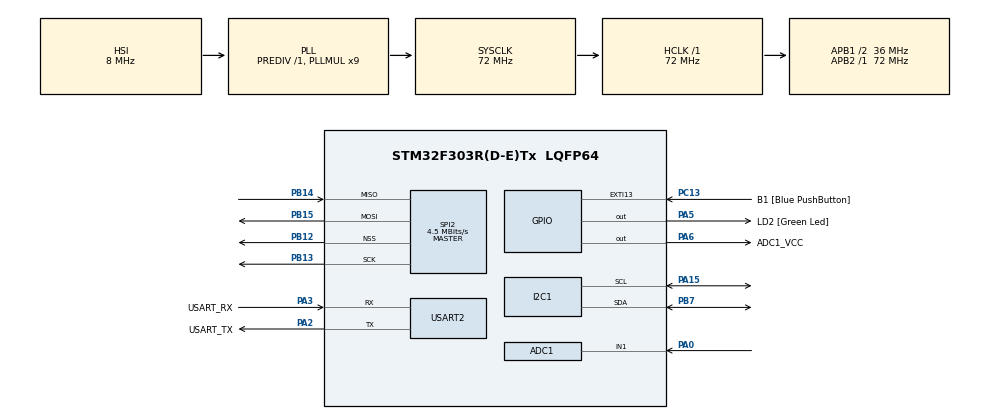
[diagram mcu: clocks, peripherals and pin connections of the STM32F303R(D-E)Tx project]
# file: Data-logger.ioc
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ADC1.Channel-3\#ChannelRegularConversion=ADC_CHANNEL_1
ADC1.ContinuousConvMode=ENABLE
ADC1.EnableInjectedConversion=DISABLE
ADC1.NbrOfConversionFlag=1
ADC1.Offset-3\#ChannelRegularConversion=0
ADC1.OffsetNumber-3\#ChannelRegularConversion=ADC_OFFSET_NONE
ADC1.Rank-3\#ChannelRegularConversion=1
ADC1.Rank1_Channel=ADC_CHANNEL_1
ADC1.SamplingTime-3\#ChannelRegularConversion=ADC_SAMPLETIME_4CYCLES_5
ADC1.SamplingTimeOPAMP-3\#ChannelRegularConversion=ADC_SAMPLETIME_61CYCLES_5
ADC1.master=1
Mcu.Family=STM32F3
Mcu.Name=STM32F303R(D-E)Tx
Mcu.Package=LQFP64
NVIC.PriorityGroup=NVIC_PRIORITYGROUP_0
PA0.Mode=IN1-Single-Ended
PA0.Signal=ADC1_IN1
PA13.GPIO_Label=TMS
PA13.Mode=Serial_Wire
PA13.Signal=SYS_JTMS-SWDIO
PA14.GPIO_Label=TCK
PA14.Mode=Serial_Wire
PA14.Signal=SYS_JTCK-SWCLK
PA15.Mode=I2C
PA15.Signal=I2C1_SCL
PA2.GPIO_Label=USART_TX
PA2.GPIO_Mode=GPIO_MODE_AF_PP
PA2.GPIO_PuPd=GPIO_NOPULL
PA2.GPIO_Speed=GPIO_SPEED_FREQ_LOW
PA2.Mode=Asynchronous
PA2.Signal=USART2_TX
PA3.GPIO_Label=USART_RX
PA3.GPIO_Mode=GPIO_MODE_AF_PP
PA3.GPIO_PuPd=GPIO_NOPULL
PA3.GPIO_Speed=GPIO_SPEED_FREQ_LOW
PA3.Mode=Asynchronous
PA3.Signal=USART2_RX
PA5.GPIO_Label=LD2 [Green Led]
PA5.GPIO_Mode=GPIO_MODE_OUTPUT_PP
PA5.GPIO_PuPd=GPIO_NOPULL
PA5.GPIO_Speed=GPIO_SPEED_FREQ_LOW
PA5.Signal=GPIO_Output
PA6.GPIO_Label=ADC1_VCC
PA6.PinState=GPIO_PIN_SET
PA6.Signal=GPIO_Output
PB12.Mode=NSS_Signal_Hard_Output
PB12.Signal=SPI2_NSS
PB13.Mode=Full_Duplex_Master
PB13.Signal=SPI2_SCK
PB14.Mode=Full_Duplex_Master
PB14.Signal=SPI2_MISO
PB15.Mode=Full_Duplex_Master
PB15.Signal=SPI2_MOSI
PB3.GPIO_Label=SWO
PB3.Signal=SYS_JTDO-TRACESWO
PB7.Mode=I2C
PB7.Signal=I2C1_SDA
PC13.GPIO_Label=B1 [Blue PushButton]
PC13.GPIO_ModeDefaultEXTI=GPIO_MODE_IT_FALLING
PC13.Signal=GPXTI13
PC14-OSC32_IN.Mode=LSE-External-Oscillator
PC14-OSC32_IN.Signal=RCC_OSC32_IN
PC15-OSC32_OUT.Mode=LSE-External-Oscillator
PC15-OSC32_OUT.Signal=RCC_OSC32_OUT
PF0-OSC_IN.Mode=HSE-External-Oscillator
PF0-OSC_IN.Signal=RCC_OSC_IN
PF1-OSC_OUT.Mode=HSE-External-Oscillator
PF1-OSC_OUT.Signal=RCC_OSC_OUT
ProjectManager.HeapSize=0x200
ProjectManager.StackSize=0x400
ProjectManager.TargetToolchain=STM32CubeIDE
RCC.AHBFreq_Value=72000000
RCC.APB1CLKDivider=RCC_HCLK_DIV2
RCC.APB1Freq_Value=36000000
RCC.APB1TimFreq_Value=72000000
RCC.APB2Freq_Value=72000000
RCC.APB2TimFreq_Value=72000000
RCC.CortexFreq_Value=72000000
RCC.HCLKFreq_Value=72000000
RCC.HSE_VALUE=8000000
RCC.HSI_VALUE=8000000
RCC.PLLM=8
RCC.PLLMUL=RCC_PLL_MUL9
RCC.PLLN=336
RCC.PLLP=RCC_PLLP_DIV4
RCC.PLLQ=7
RCC.RCC_PLLsource_Clock_Source_FROM_HSE=RCC_HSE_PREDIV_DIV2
RCC.SYSCLKFreq_VALUE=72000000
RCC.SYSCLKSourceVirtual=RCC_SYSCLKSOURCE_PLLCLK
RCC.USBFreq_Value=72000000
SPI2.BaudRatePrescaler=SPI_BAUDRATEPRESCALER_8
SPI2.CLKPhase=SPI_PHASE_1EDGE
SPI2.CLKPolarity=SPI_POLARITY_LOW
SPI2.CRCCalculation=SPI_CRCCALCULATION_DISABLE
SPI2.CalculateBaudRate=4.5 MBits/s
SPI2.DataSize=SPI_DATASIZE_8BIT
SPI2.Direction=SPI_DIRECTION_2LINES
SPI2.Mode=SPI_MODE_MASTER
SPI2.NSSPMode=SPI_NSS_PULSE_DISABLE
SPI2.TIMode=SPI_TIMODE_DISABLE
SPI2.VirtualNSS=VM_NSSHARD
SPI2.VirtualType=VM_MASTER
USART2.VirtualMode-Asynchronous=VM_ASYNC
board=NUCLEO-F303RE

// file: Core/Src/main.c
/* USER CODE BEGIN Header */
/**
  ******************************************************************************
  * @file           : main.c
  * @brief          : Main program body
  ******************************************************************************
  * @attention
  *
  * Copyright (c) 2022 STMicroelectronics.
  * All rights reserved.
  *
  * This software is licensed under terms that can be found in the LICENSE file
  * in the root directory of this software component.
  * If no LICENSE file comes with this software, it is provided AS-IS.
  *
  ******************************************************************************
  */
/* USER CODE END Header */
#include "main.h"

ADC_HandleTypeDef hadc1;

I2C_HandleTypeDef hi2c1;

SPI_HandleTypeDef hspi2;

UART_HandleTypeDef huart2;

void SystemClock_Config(void);
static void MX_GPIO_Init(void);
static void MX_USART2_UART_Init(void);
static void MX_I2C1_Init(void);
static void MX_SPI2_Init(void);
static void MX_ADC1_Init(void);

int main(void)
{
  /* USER CODE BEGIN 1 */

	//Définition des variables
	uint8_t lastSecondsCheck = 0;
	uint32_t addr = 0;
	uint8_t tmp[7];
	uint32_t temperature;
	RTC_Date_t RTC_Date;
	RTC_Date_t RTC_Date_init = {22, 12, 24, 1, 9, 02, 56, 0, 0};
	SQW_t squareWave = SQW_OFF_0;
	/* USER CODE END 1 */

  /* MCU Configuration--------------------------------------------------------*/

  /* Reset of all peripherals, Initializes the Flash interface and the Systick. */
  HAL_Init();

  /* Configure the system clock */
  SystemClock_Config();

  /* Initialize all configured peripherals */
  MX_GPIO_Init();
  MX_USART2_UART_Init();
  MX_I2C1_Init();
  MX_SPI2_Init();
  MX_ADC1_Init();
  /* USER CODE BEGIN 2 */
#ifdef __DEBUG__
  Set_UART_Redirection_Port(&huart2);
  printf("\r\n\r\n\r\n");
  printf("##########################################\r\n");
  printf("################# Debug ##################\r\n");
  printf("##########################################\r\n");
  printf("\r\n\r\n\r\n");
#endif
  /* USER CODE END 2 */

  /* Infinite loop */
  /* USER CODE BEGIN WHILE */

  RTC_Init(RTC_Date_init, squareWave);

  while (1)
  {
	  RTC_getDate(&RTC_Date);

	  if(RTC_Date.seconds == 0 &&  lastSecondsCheck == 59)
	  {
		  lastSecondsCheck = RTC_Date.seconds;

		  //Ajout d'une valeur en EEPROM
		  temperature = TS_getTemperature();

		  tmp[0] = RTC_Date.seconds;
		  tmp[1] = RTC_Date.minutes;
		  tmp[2] = RTC_Date.hour;
		  if(RTC_Date.hourMode != AM_PM_NONE)
		  {
			  tmp[3] = RTC_Date.timeMode;
			  tmp[4] = RTC_Date.dateNumber;
			  tmp[5] = RTC_Date.month;
			  tmp[6] = RTC_Date.year;
			  tmp[7] = temperature;

			  EE_Write(addr, tmp, 8);

			  addr += 8;
			  if(addr >= 0x7FFFF) addr = 0;

		  }
		  else
		  {
			  tmp[3] = RTC_Date.dateNumber;
			  tmp[4] = RTC_Date.month;
			  tmp[5] = RTC_Date.year;

			  tmp[6] = temperature;

			  EE_Write(addr, tmp, 7);

			  addr += 7;
			  if(addr >= 0x7FFFF) addr = 0;

		  }

#ifdef __DEBUG__
		  printf("Temperature written : %ld\r\n", temperature);
#endif

	  }

	  lastSecondsCheck = RTC_Date.seconds;
#ifdef __DEBUG__
	  //	dd/mm/aaaa - day - hh:mm:ss
	  printf("%02d/%02d/20%02d - %d - %02d:%02d:%02d\r\n", RTC_Date.dateNumber, RTC_Date.month, RTC_Date.year, RTC_Date.day, RTC_Date.hour, RTC_Date.minutes, RTC_Date.seconds);
#endif
	  HAL_Delay(10);
    /* USER CODE END WHILE */

  }
}

void SystemClock_Config(void)
{
  RCC_OscInitTypeDef RCC_OscInitStruct = {0};
  RCC_ClkInitTypeDef RCC_ClkInitStruct = {0};
  RCC_PeriphCLKInitTypeDef PeriphClkInit = {0};

  /** Initializes the RCC Oscillators according to the specified parameters
  * in the RCC_OscInitTypeDef structure.
  */
  RCC_OscInitStruct.OscillatorType = RCC_OSCILLATORTYPE_HSI;
  RCC_OscInitStruct.HSIState = RCC_HSI_ON;
  RCC_OscInitStruct.HSICalibrationValue = RCC_HSICALIBRATION_DEFAULT;
  RCC_OscInitStruct.PLL.PLLState = RCC_PLL_ON;
  RCC_OscInitStruct.PLL.PLLSource = RCC_PLLSOURCE_HSI;
  RCC_OscInitStruct.PLL.PLLMUL = RCC_PLL_MUL9;
  RCC_OscInitStruct.PLL.PREDIV = RCC_PREDIV_DIV1;
  if (HAL_RCC_OscConfig(&RCC_OscInitStruct) != HAL_OK)
  {
    Error_Handler();
  }
  /** Initializes the CPU, AHB and APB buses clocks
  */
  RCC_ClkInitStruct.ClockType = RCC_CLOCKTYPE_HCLK|RCC_CLOCKTYPE_SYSCLK
                              |RCC_CLOCKTYPE_PCLK1|RCC_CLOCKTYPE_PCLK2;
  RCC_ClkInitStruct.SYSCLKSource = RCC_SYSCLKSOURCE_PLLCLK;
  RCC_ClkInitStruct.AHBCLKDivider = RCC_SYSCLK_DIV1;
  RCC_ClkInitStruct.APB1CLKDivider = RCC_HCLK_DIV2;
  RCC_ClkInitStruct.APB2CLKDivider = RCC_HCLK_DIV1;

  if (HAL_RCC_ClockConfig(&RCC_ClkInitStruct, FLASH_LATENCY_2) != HAL_OK)
  {
    Error_Handler();
  }
  PeriphClkInit.PeriphClockSelection = RCC_PERIPHCLK_USART2|RCC_PERIPHCLK_I2C1
                              |RCC_PERIPHCLK_ADC12;
  PeriphClkInit.Usart2ClockSelection = RCC_USART2CLKSOURCE_PCLK1;
  PeriphClkInit.Adc12ClockSelection = RCC_ADC12PLLCLK_DIV1;
  PeriphClkInit.I2c1ClockSelection = RCC_I2C1CLKSOURCE_HSI;
  if (HAL_RCCEx_PeriphCLKConfig(&PeriphClkInit) != HAL_OK)
  {
    Error_Handler();
  }
}

static void MX_ADC1_Init(void)
{

  ADC_MultiModeTypeDef multimode = {0};
  ADC_ChannelConfTypeDef sConfig = {0};

  /** Common config
  */
  hadc1.Instance = ADC1;
  hadc1.Init.ClockPrescaler = ADC_CLOCK_ASYNC_DIV1;
  hadc1.Init.Resolution = ADC_RESOLUTION_12B;
  hadc1.Init.ScanConvMode = ADC_SCAN_DISABLE;
  hadc1.Init.ContinuousConvMode = ENABLE;
  hadc1.Init.DiscontinuousConvMode = DISABLE;
  hadc1.Init.ExternalTrigConvEdge = ADC_EXTERNALTRIGCONVEDGE_NONE;
  hadc1.Init.ExternalTrigConv = ADC_SOFTWARE_START;
  hadc1.Init.DataAlign = ADC_DATAALIGN_RIGHT;
  hadc1.Init.NbrOfConversion = 1;
  hadc1.Init.DMAContinuousRequests = DISABLE;
  hadc1.Init.EOCSelection = ADC_EOC_SINGLE_CONV;
  hadc1.Init.LowPowerAutoWait = DISABLE;
  hadc1.Init.Overrun = ADC_OVR_DATA_OVERWRITTEN;
  if (HAL_ADC_Init(&hadc1) != HAL_OK)
  {
    Error_Handler();
  }
  /** Configure the ADC multi-mode
  */
  multimode.Mode = ADC_MODE_INDEPENDENT;
  if (HAL_ADCEx_MultiModeConfigChannel(&hadc1, &multimode) != HAL_OK)
  {
    Error_Handler();
  }
  /** Configure Regular Channel
  */
  sConfig.Channel = ADC_CHANNEL_1;
  sConfig.Rank = ADC_REGULAR_RANK_1;
  sConfig.SingleDiff = ADC_SINGLE_ENDED;
  sConfig.SamplingTime = ADC_SAMPLETIME_4CYCLES_5;
  sConfig.OffsetNumber = ADC_OFFSET_NONE;
  sConfig.Offset = 0;
  if (HAL_ADC_ConfigChannel(&hadc1, &sConfig) != HAL_OK)
  {
    Error_Handler();
  }

}

static void MX_I2C1_Init(void)
{

  hi2c1.Instance = I2C1;
  hi2c1.Init.Timing = 0x2000090E;
  hi2c1.Init.OwnAddress1 = 0;
  hi2c1.Init.AddressingMode = I2C_ADDRESSINGMODE_7BIT;
  hi2c1.Init.DualAddressMode = I2C_DUALADDRESS_DISABLE;
  hi2c1.Init.OwnAddress2 = 0;
  hi2c1.Init.OwnAddress2Masks = I2C_OA2_NOMASK;
  hi2c1.Init.GeneralCallMode = I2C_GENERALCALL_DISABLE;
  hi2c1.Init.NoStretchMode = I2C_NOSTRETCH_DISABLE;
  if (HAL_I2C_Init(&hi2c1) != HAL_OK)
  {
    Error_Handler();
  }
  /** Configure Analogue filter
  */
  if (HAL_I2CEx_ConfigAnalogFilter(&hi2c1, I2C_ANALOGFILTER_ENABLE) != HAL_OK)
  {
    Error_Handler();
  }
  /** Configure Digital filter
  */
  if (HAL_I2CEx_ConfigDigitalFilter(&hi2c1, 0) != HAL_OK)
  {
    Error_Handler();
  }

}

static void MX_SPI2_Init(void)
{

  /* SPI2 parameter configuration*/
  hspi2.Instance = SPI2;
  hspi2.Init.Mode = SPI_MODE_MASTER;
  hspi2.Init.Direction = SPI_DIRECTION_2LINES;
  hspi2.Init.DataSize = SPI_DATASIZE_8BIT;
  hspi2.Init.CLKPolarity = SPI_POLARITY_LOW;
  hspi2.Init.CLKPhase = SPI_PHASE_1EDGE;
  hspi2.Init.NSS = SPI_NSS_HARD_OUTPUT;
  hspi2.Init.BaudRatePrescaler = SPI_BAUDRATEPRESCALER_8;
  hspi2.Init.FirstBit = SPI_FIRSTBIT_MSB;
  hspi2.Init.TIMode = SPI_TIMODE_DISABLE;
  hspi2.Init.CRCCalculation = SPI_CRCCALCULATION_DISABLE;
  hspi2.Init.CRCPolynomial = 7;
  hspi2.Init.CRCLength = SPI_CRC_LENGTH_DATASIZE;
  hspi2.Init.NSSPMode = SPI_NSS_PULSE_DISABLE;
  if (HAL_SPI_Init(&hspi2) != HAL_OK)
  {
    Error_Handler();
  }

}

static void MX_USART2_UART_Init(void)
{

  huart2.Instance = USART2;
  huart2.Init.BaudRate = 38400;
  huart2.Init.WordLength = UART_WORDLENGTH_8B;
  huart2.Init.StopBits = UART_STOPBITS_1;
  huart2.Init.Parity = UART_PARITY_NONE;
  huart2.Init.Mode = UART_MODE_TX_RX;
  huart2.Init.HwFlowCtl = UART_HWCONTROL_NONE;
  huart2.Init.OverSampling = UART_OVERSAMPLING_16;
  huart2.Init.OneBitSampling = UART_ONE_BIT_SAMPLE_DISABLE;
  huart2.AdvancedInit.AdvFeatureInit = UART_ADVFEATURE_NO_INIT;
  if (HAL_UART_Init(&huart2) != HAL_OK)
  {
    Error_Handler();
  }

}

static void MX_GPIO_Init(void)
{
  GPIO_InitTypeDef GPIO_InitStruct = {0};

  /* GPIO Ports Clock Enable */
  __HAL_RCC_GPIOC_CLK_ENABLE();
  __HAL_RCC_GPIOF_CLK_ENABLE();
  __HAL_RCC_GPIOA_CLK_ENABLE();
  __HAL_RCC_GPIOB_CLK_ENABLE();

  /*Configure GPIO pin Output Level */
  HAL_GPIO_WritePin(LD2_GPIO_Port, LD2_Pin, GPIO_PIN_RESET);

  /*Configure GPIO pin Output Level */
  HAL_GPIO_WritePin(ADC1_VCC_GPIO_Port, ADC1_VCC_Pin, GPIO_PIN_SET);

  /*Configure GPIO pin : B1_Pin */
  GPIO_InitStruct.Pin = B1_Pin;
  GPIO_InitStruct.Mode = GPIO_MODE_IT_FALLING;
  GPIO_InitStruct.Pull = GPIO_NOPULL;
  HAL_GPIO_Init(B1_GPIO_Port, &GPIO_InitStruct);

  /*Configure GPIO pins : LD2_Pin ADC1_VCC_Pin */
  GPIO_InitStruct.Pin = LD2_Pin|ADC1_VCC_Pin;
  GPIO_InitStruct.Mode = GPIO_MODE_OUTPUT_PP;
  GPIO_InitStruct.Pull = GPIO_NOPULL;
  GPIO_InitStruct.Speed = GPIO_SPEED_FREQ_LOW;
  HAL_GPIO_Init(GPIOA, &GPIO_InitStruct);

}

void Error_Handler(void)
{
  __disable_irq();
  while (1)
  {
  }
}

#ifdef  USE_FULL_ASSERT
/**
  * @brief  Reports the name of the source file and the source line number
  *         where the assert_param error has occurred.
  * @param  file: pointer to the source file name
  * @param  line: assert_param error line source number
  * @retval None
  */
void assert_failed(uint8_t *file, uint32_t line)
{
  /* USER CODE BEGIN 6 */
  /* User can add his own implementation to report the file name and line number,
     ex: printf("Wrong parameters value: file %s on line %d\r\n", file, line) */
	printf("Wrong parameters value: file %s on line %d\r\n", file, line);
	NVIC_SystemReset();
  /* USER CODE END 6 */
}
#endif /* USE_FULL_ASSERT */
